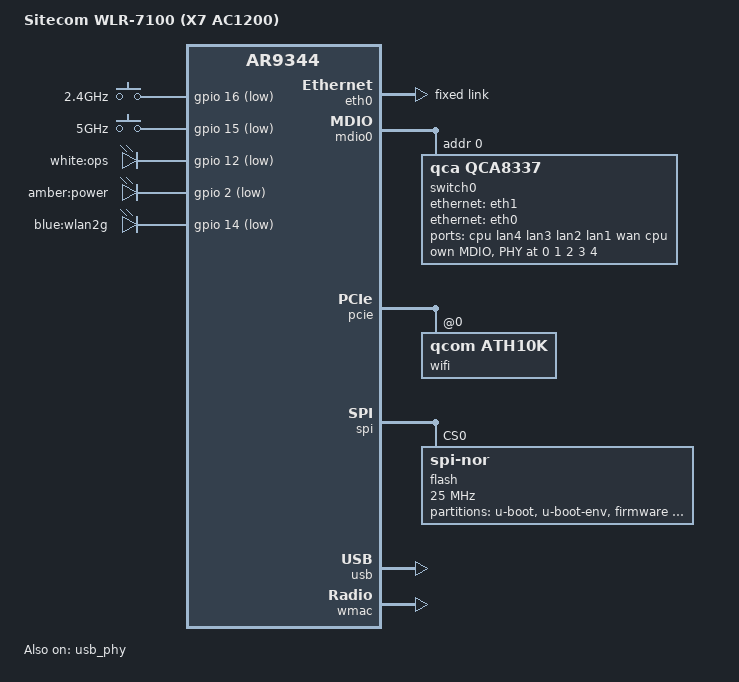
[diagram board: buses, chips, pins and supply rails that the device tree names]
// SPDX-License-Identifier: GPL-2.0-or-later OR MIT

#include "ar9344.dtsi"

#include <dt-bindings/gpio/gpio.h>
#include <dt-bindings/input/input.h>

/ {
	model = "Sitecom WLR-7100 (X7 AC1200)";
	compatible = "sitecom,wlr-7100", "qca,ar9344";

	aliases {
		led-boot = &led_power;
		led-failsafe = &led_power;
		led-running = &led_power;
		led-upgrade = &led_power;
	};

	keys {
		compatible = "gpio-keys";

		wlan2g {
			label = "2.4GHz";
			gpios = <&gpio 16 GPIO_ACTIVE_LOW>;
			linux,code = <KEY_RESTART>;
		};

		wlan5g {
			label = "5GHz";
			gpios = <&gpio 15 GPIO_ACTIVE_LOW>;
			linux,code = <KEY_WPS_BUTTON>;
		};
	};

	leds {
		compatible = "gpio-leds";

		ops {
			label = "white:ops";
			gpios = <&gpio 12 GPIO_ACTIVE_LOW>;
		};

		led_power: power {
			label = "amber:power";
			gpios = <&gpio 2 GPIO_ACTIVE_LOW>;
			default-state = "on";
		};

		wlan2g {
			label = "blue:wlan2g";
			gpios = <&gpio 14 GPIO_ACTIVE_LOW>;
			linux,default-trigger = "phy1tpt";
		};
	};
};

&eth0 {
	status = "okay";

	pll-data = <0x06000000 0x00000101 0x00001616>;

	gmac-config {
		device = <&gmac>;
		rgmii-gmac0 = <1>;
	};

	fixed-link {
		speed = <1000>;
		full-duplex;
	};
};

&mdio0 {
	status = "okay";

	switch0@10 {
		compatible = "qca,qca8337";
		#address-cells = <1>;
		#size-cells = <0>;

		reg = <0>;
		qca,ignore-power-on-sel;

		ports {
			#address-cells = <1>;
			#size-cells = <0>;

			port@0 {
				reg = <0>;
				label = "cpu";
				ethernet = <&eth1>;
				phy-mode = "rgmii-id";
				tx-internal-delay-ps = <2000>;
			};

			port@1 {
				reg = <1>;
				label = "lan4";
				phy-mode = "internal";
				phy-handle = <&phy_port1>;
			};

			port@2 {
				reg = <2>;
				label = "lan3";
				phy-mode = "internal";
				phy-handle = <&phy_port2>;
			};

			port@3 {
				reg = <3>;
				label = "lan2";
				phy-mode = "internal";
				phy-handle = <&phy_port3>;
			};

			port@4 {
				reg = <4>;
				label = "lan1";
				phy-mode = "internal";
				phy-handle = <&phy_port4>;
			};

			port@5 {
				reg = <5>;
				label = "wan";
				phy-mode = "internal";
				phy-handle = <&phy_port5>;
			};

			port@6 {
				reg = <6>;
				label = "cpu";
				ethernet = <&eth0>;
				phy-mode = "rgmii-rxid";

				fixed-link {
					speed = <1000>;
					full-duplex;
				};
			};
		};

		mdio {
			#address-cells = <1>;
			#size-cells = <0>;

			phy_port1: phy@0 {
				reg = <0>;
			};

			phy_port2: phy@1 {
				reg = <1>;
			};

			phy_port3: phy@2 {
				reg = <2>;
			};

			phy_port4: phy@3 {
				reg = <3>;
			};

			phy_port5: phy@4 {
				reg = <4>;
			};
		};
	};
};

&pcie {
	status = "okay";

	wifi@0,0 {
		compatible = "qcom,ath10k";
		reg = <0x0000 0 0 0 0>;
	};
};

&ref {
	clock-frequency = <25000000>;
};

&spi {
	status = "okay";

	flash@0 {
		compatible = "jedec,spi-nor";
		reg = <0>;
		spi-max-frequency = <25000000>;

		partitions {
			compatible = "fixed-partitions";
			#address-cells = <1>;
			#size-cells = <1>;

			partition@0 {
				label = "u-boot";
				reg = <0x000000 0x030000>;
				read-only;
			};

			uenv: partition@30000 {
				label = "u-boot-env";
				reg = <0x030000 0x010000>;
				read-only;
			};

			partition@40000 {
				compatible = "denx,uimage";
				label = "firmware";
				reg = <0x040000 0x750000>;
			};

			partition@790000 {
				label = "backup";
				reg = <0x790000 0x010000>;
				read-only;
			};

			partition@7a0000 {
				label = "storage";
				reg = <0x7a0000 0x050000>;
				read-only;
			};

			art: partition@7f0000 {
				label = "art";
				reg = <0x7f0000 0x010000>;
				read-only;
			};
		};
	};
};

&usb {
	status = "okay";
};

&usb_phy {
	status = "okay";
};

&wmac {
	status = "okay";

	qca,no-eeprom;
};
